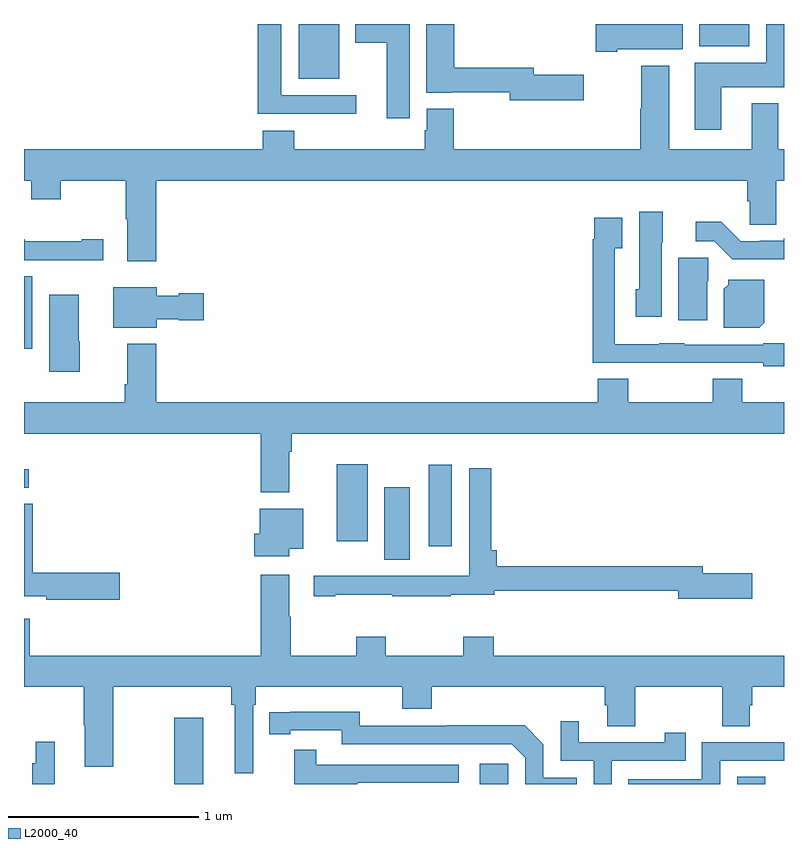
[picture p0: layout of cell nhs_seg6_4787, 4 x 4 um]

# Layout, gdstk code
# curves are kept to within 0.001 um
import gdstk
lib = gdstk.Library(unit=1e-6, precision=1e-09)
def R(c, l, rs):  # rectangles x0, y0, x1, y1
    for r in rs: c.add(gdstk.rectangle(r[:2], r[2:], *l))
def P(c, l, *ps):  # polygons
    for p in ps: c.add(gdstk.Polygon(p, *l))
L2000_40 = (2000, 40)

nhs_seg6_4787 = lib.new_cell('nhs_seg6_4787')
R(nhs_seg6_4787, L2000_40, [(395.791,937.5,395.944,937.849), (397.398,937.5,397.548,937.606), (398.754,937.5,398.902,937.537), (396.896,938.68,397.03,939.061), (397.13,938.751,397.252,939.181), (396.647,938.778,396.808,939.184), (395,939.06,395.026,939.156), (395,939.792,395.044,940.172), (396.446,941.213,396.658,941.5), (398.555,941.384,398.818,941.5)])
P(nhs_seg6_4787, L2000_40, [(397.945,941.234),(397.684,941.234),(397.684,941.27),(397.265,941.27),(397.265,941.5),(397.118,941.5),(397.118,941.138),(397.248,941.138),(397.248,941.142),(397.556,941.142),(397.556,941.099),(397.945,941.099)],
  [(396.748,941.124),(396.355,941.124),(396.355,941.5),(396.23,941.5),(396.23,941.027),(396.748,941.027)],
  [(397.03,941.5),(396.743,941.5),(396.743,941.402),(396.908,941.402),(396.908,941.004),(397.03,941.004)],
  [(398.671,941.168),(399,941.168),(399,941.5),(398.906,941.5),(398.906,941.296),(398.531,941.296),(398.531,940.944),(398.671,940.944)],
  [(398.122,941.366),(398.467,941.366),(398.467,941.5),(398.01,941.5),(398.01,941.354),(398.122,941.354)],
  [(395.696,940.676),(398.807,940.676),(398.807,940.566),(398.82,940.566),(398.82,940.444),(398.959,940.444),(398.959,940.676),(399,940.676),(399,940.84),(398.971,940.84),(398.971,941.083),(398.831,941.083),(398.831,940.84),(398.395,940.84),(398.395,941.281),(398.248,941.281),(398.248,941.055),(398.243,941.055),(398.243,940.84),(397.262,940.84),(397.262,941.053),(397.121,941.053),(397.121,940.941),(397.109,940.941),(397.109,940.84),(396.422,940.84),(396.422,940.939),(396.257,940.939),(396.257,940.84),(395,940.84),(395,940.676),(395.038,940.676),(395.038,940.577),(395.193,940.577),(395.193,940.676),(395.536,940.676),(395.536,940.472),(395.543,940.472),(395.543,940.251),(395.696,940.251)],
  [(398.356,940.35),(398.362,940.35),(398.362,940.513),(398.237,940.513),(398.237,940.104),(398.219,940.104),(398.219,939.96),(398.356,939.96)],
  [(399,939.82),(398.892,939.82),(398.892,939.813),(398.475,939.813),(398.475,939.82),(398.343,939.82),(398.343,939.814),(398.109,939.814),(398.109,940.319),(398.149,940.319),(398.149,940.48),(398.001,940.48),(398.001,940.367),(397.993,940.367),(397.993,939.717),(398.243,939.717),(398.243,939.716),(398.475,939.716),(398.475,939.717),(398.892,939.717),(398.892,939.698),(399,939.698)],
  [(399,940.372),(398.999,940.372),(398.999,940.359),(398.872,940.359),(398.872,940.356),(398.772,940.356),(398.67,940.459),(398.535,940.459),(398.535,940.356),(398.634,940.356),(398.728,940.262),(399,940.262)],
  [(395.416,940.366),(395.303,940.366),(395.303,940.356),(395.003,940.356),(395.003,940.366),(395,940.366),(395,940.257),(395.14,940.257),(395.14,940.256),(395.416,940.256)],
  [(398.596,940.146),(398.6,940.146),(398.6,940.269),(398.444,940.269),(398.444,939.942),(398.596,939.942)],
  [(398.896,939.928),(398.896,940.153),(398.706,940.153),(398.706,940.128),(398.684,940.106),(398.684,939.902),(398.87,939.902)],
  [(395.698,939.947),(395.814,939.947),(395.814,939.94),(395.947,939.94),(395.947,940.082),(395.814,940.082),(395.814,940.069),(395.698,940.069),(395.698,940.114),(395.471,940.114),(395.471,939.902),(395.698,939.902)],
  [(395.293,939.831),(395.287,939.831),(395.287,940.075),(395.132,940.075),(395.132,939.669),(395.293,939.669)],
  [(396.397,939.248),(396.41,939.248),(396.41,939.344),(399,939.344),(399,939.508),(398.781,939.508),(398.781,939.632),(398.626,939.632),(398.626,939.508),(398.181,939.508),(398.181,939.632),(398.021,939.632),(398.021,939.508),(395.696,939.508),(395.696,939.817),(395.543,939.817),(395.543,939.604),(395.531,939.604),(395.531,939.508),(395,939.508),(395,939.344),(396.245,939.344),(396.245,939.035),(396.397,939.035)],
  [(398.833,938.609),(398.572,938.609),(398.572,938.645),(397.487,938.645),(397.487,938.731),(397.46,938.731),(397.46,939.163),(397.344,939.163),(397.344,938.596),(397.134,938.596),(397.134,938.595),(396.8,938.595),(396.8,938.597),(396.525,938.597),(396.525,938.487),(396.637,938.487),(396.637,938.497),(396.937,938.497),(396.937,938.487),(397.247,938.487),(397.247,938.497),(397.474,938.497),(397.474,938.517),(398.444,938.517),(398.444,938.474),(398.833,938.474)],
  [(395.503,938.612),(395.045,938.612),(395.045,938.975),(395,938.975),(395,938.489),(395.118,938.489),(395.118,938.47),(395.503,938.47)],
  [(396.395,938.738),(396.469,938.738),(396.469,938.95),(396.242,938.95),(396.242,938.817),(396.212,938.817),(396.212,938.699),(396.395,938.699)],
  [(395.03,938.371),(395,938.371),(395,938.012),(395.314,938.012),(395.314,937.81),(395.321,937.81),(395.321,937.59),(395.469,937.59),(395.469,938.012),(396.091,938.012),(396.091,937.916),(396.11,937.916),(396.11,937.557),(396.207,937.557),(396.207,937.916),(396.221,937.916),(396.221,938.012),(396.992,938.012),(396.992,937.895),(397.145,937.895),(397.145,938.012),(398.057,938.012),(398.057,937.914),(398.069,937.914),(398.069,937.804),(398.217,937.804),(398.217,938.012),(398.674,938.012),(398.674,937.804),(398.821,937.804),(398.821,937.914),(398.834,937.914),(398.834,938.012),(399,938.012),(399,938.176),(397.472,938.176),(397.472,938.275),(397.312,938.275),(397.312,938.176),(396.903,938.176),(396.903,938.275),(396.748,938.275),(396.748,938.176),(396.405,938.176),(396.405,938.381),(396.397,938.381),(396.397,938.602),(396.245,938.602),(396.245,938.176),(395.03,938.176)],
  [(397.908,937.533),(397.734,937.533),(397.734,937.71),(397.636,937.808),(397.228,937.808),(397.228,937.806),(396.768,937.806),(396.768,937.879),(396.292,937.878),(396.292,937.762),(396.4,937.762),(396.4,937.782),(396.672,937.782),(396.672,937.71),(397.566,937.71),(397.638,937.638),(397.638,937.5),(397.908,937.5)],
  [(398.094,937.623),(398.483,937.623),(398.483,937.771),(398.372,937.771),(398.372,937.719),(397.921,937.719),(397.921,937.831),(397.824,937.831),(397.824,937.623),(397.998,937.623),(397.998,937.5),(398.094,937.5)],
  [(395.16,937.501),(395.161,937.501),(395.161,937.723),(395.063,937.723),(395.063,937.61),(395.044,937.61),(395.044,937.5),(395.16,937.5)],
  [(398.664,937.623),(399,937.623),(399,937.719),(398.568,937.719),(398.568,937.524),(398.179,937.524),(398.179,937.5),(398.664,937.5)],
  [(396.755,937.506),(397.288,937.506),(397.288,937.602),(396.539,937.602),(396.539,937.681),(396.422,937.681),(396.422,937.5),(396.755,937.5)])

lib.write_gds('nhs_seg6_4787.gds')
